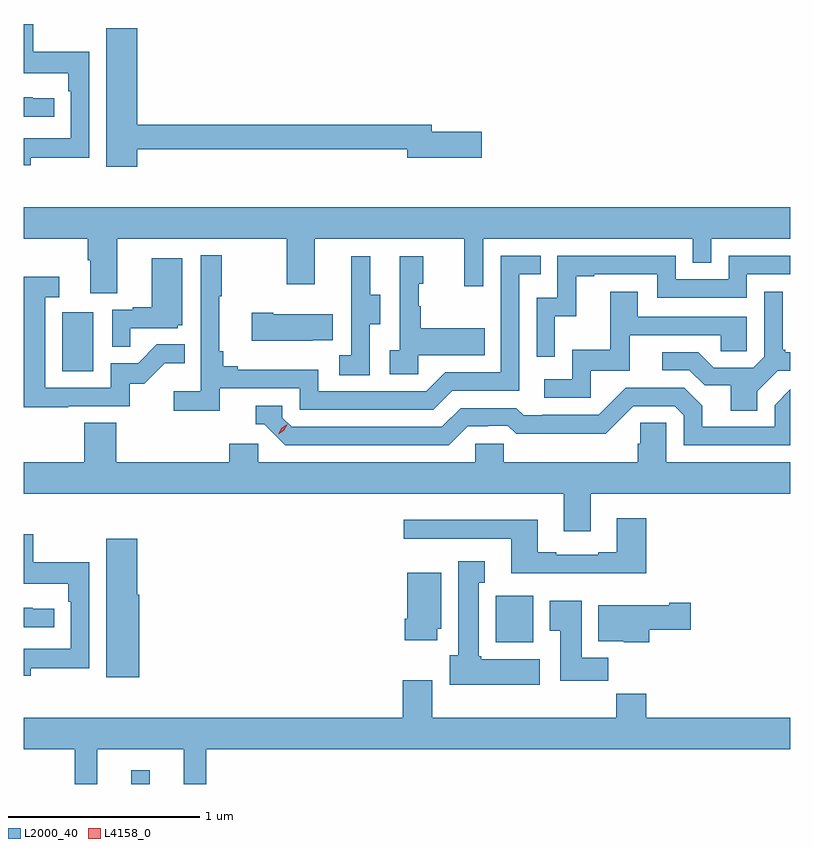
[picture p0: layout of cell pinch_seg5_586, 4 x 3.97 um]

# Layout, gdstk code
import gdstk
lib = gdstk.Library(unit=1e-6, precision=1e-09)
def R(c, l, rs):  # rectangles x0, y0, x1, y1
    for r in rs: c.add(gdstk.rectangle(r[:2], r[2:], *l))
def P(c, l, *ps):  # polygons
    for p in ps: c.add(gdstk.Polygon(p, *l))
L2000_40 = (2000, 40)
L4158_0 = (4158, 0)

pinch_seg5_586 = lib.new_cell('pinch_seg5_586')
R(pinch_seg5_586, L2000_40, [(1125.387,856.578,1125.484,856.651), (1127.288,857.318,1127.485,857.56), (1125.026,858.732,1125.19,859.039)])
P(pinch_seg5_586, L2000_40, [(1124.863,859.846),(1125.168,859.846),(1125.168,860.398),(1124.875,860.398),(1124.875,860.544),(1124.826,860.544),(1124.826,860.288),(1125.059,860.288),(1125.059,860.192),(1125.072,860.192),(1125.072,859.947),(1124.826,859.947),(1124.826,859.808),(1124.863,859.808)],
  [(1125.418,859.89),(1126.826,859.89),(1126.826,859.847),(1127.215,859.847),(1127.215,859.982),(1126.954,859.982),(1126.954,860.018),(1125.418,860.018),(1125.418,860.521),(1125.257,860.521),(1125.257,859.8),(1125.418,859.8)],
  [(1124.986,860.157),(1124.873,860.157),(1124.873,860.162),(1124.826,860.162),(1124.826,860.061),(1124.986,860.061)],
  [(1125.313,859.424),(1126.198,859.424),(1126.198,859.185),(1126.345,859.185),(1126.345,859.424),(1127.126,859.424),(1127.126,859.176),(1127.223,859.176),(1127.223,859.424),(1128.318,859.424),(1128.318,859.297),(1128.414,859.297),(1128.414,859.424),(1128.826,859.424),(1128.826,859.588),(1124.826,859.588),(1124.826,859.424),(1125.161,859.424),(1125.161,859.312),(1125.173,859.312),(1125.173,859.138),(1125.313,859.138)],
  [(1125.848,858.642),(1126.266,858.642),(1126.266,858.531),(1126.963,858.531),(1127.062,858.63),(1127.412,858.63),(1127.412,859.239),(1127.525,859.239),(1127.525,859.335),(1127.316,859.335),(1127.316,858.726),(1127.025,858.726),(1126.926,858.627),(1126.362,858.627),(1126.362,858.739),(1125.943,858.739),(1125.943,858.758),(1125.866,858.758),(1125.866,858.835),(1125.847,858.835),(1125.847,859.123),(1125.859,859.123),(1125.859,859.336),(1125.75,859.336),(1125.75,858.628),(1125.609,858.628),(1125.609,858.526),(1125.848,858.526)],
  [(1127.598,859.019),(1127.708,859.019),(1127.708,859.227),(1127.803,859.227),(1127.803,859.239),(1128.132,859.239),(1128.132,859.116),(1128.6,859.116),(1128.6,859.239),(1128.826,859.239),(1128.826,859.335),(1128.504,859.335),(1128.504,859.212),(1128.228,859.212),(1128.228,859.335),(1127.61,859.335),(1127.61,859.116),(1127.502,859.116),(1127.502,858.807),(1127.598,858.807)],
  [(1126.884,858.815),(1127.231,858.815),(1127.231,858.955),(1126.897,858.955),(1126.897,859.07),(1126.887,859.07),(1126.887,859.188),(1126.912,859.188),(1126.912,859.333),(1126.788,859.333),(1126.788,858.842),(1126.737,858.842),(1126.737,858.717),(1126.884,858.717)],
  [(1126.632,858.976),(1126.687,858.976),(1126.687,859.131),(1126.633,859.131),(1126.633,859.333),(1126.535,859.333),(1126.535,859.119),(1126.536,859.119),(1126.536,858.815),(1126.473,858.815),(1126.473,858.712),(1126.632,858.712)],
  [(1125.383,858.957),(1125.63,858.957),(1125.63,858.972),(1125.652,858.972),(1125.652,859.321),(1125.494,859.321),(1125.494,859.066),(1125.395,859.066),(1125.395,859.053),(1125.288,859.053),(1125.288,858.859),(1125.383,858.859)],
  [(1125.059,858.549),(1125.378,858.549),(1125.378,858.666),(1125.454,858.666),(1125.561,858.773),(1125.665,858.773),(1125.665,858.872),(1125.521,858.872),(1125.423,858.774),(1125.279,858.774),(1125.279,858.645),(1124.937,858.645),(1124.937,859.119),(1125.01,859.119),(1125.01,859.225),(1124.826,859.225),(1124.826,858.544),(1125.059,858.544)],
  [(1128.655,858.628),(1128.762,858.735),(1128.826,858.735),(1128.826,858.832),(1128.799,858.832),(1128.799,858.844),(1128.787,858.844),(1128.787,859.147),(1128.69,859.147),(1128.69,858.807),(1128.633,858.75),(1128.427,858.75),(1128.346,858.831),(1128.159,858.831),(1128.159,858.738),(1128.3,858.738),(1128.38,858.658),(1128.515,858.658),(1128.515,858.526),(1128.655,858.526)],
  [(1127.784,858.735),(1127.989,858.735),(1127.989,858.921),(1128.463,858.921),(1128.463,858.837),(1128.6,858.837),(1128.6,859.017),(1128.031,859.017),(1128.031,859.147),(1127.887,859.147),(1127.887,858.844),(1127.688,858.844),(1127.688,858.69),(1127.541,858.69),(1127.541,858.594),(1127.784,858.594)],
  [(1126.331,858.893),(1126.439,858.893),(1126.439,859.03),(1126.129,859.03),(1126.129,859.038),(1126.017,859.038),(1126.017,858.89),(1126.331,858.89)],
  [(1127.143,858.444),(1127.25,858.444),(1127.25,858.447),(1127.353,858.447),(1127.395,858.405),(1127.628,858.405),(1127.628,858.407),(1127.864,858.407),(1128.006,858.549),(1128.222,858.549),(1128.27,858.501),(1128.27,858.345),(1128.826,858.345),(1128.826,858.637),(1128.744,858.555),(1128.744,858.441),(1128.367,858.441),(1128.367,858.551),(1128.273,858.645),(1127.967,858.645),(1127.826,858.504),(1127.533,858.504),(1127.533,858.501),(1127.434,858.501),(1127.395,858.54),(1127.106,858.54),(1127.007,858.441),(1126.224,858.441),(1126.176,858.489),(1126.176,858.552),(1126.037,858.552),(1126.037,858.456),(1126.08,858.456),(1126.191,858.345),(1127.044,858.345)],
  [(1127.785,858.092),(1128.826,858.092),(1128.826,858.256),(1128.18,858.256),(1128.18,858.464),(1128.043,858.464),(1128.043,858.354),(1128.029,858.354),(1128.029,858.256),(1127.331,858.256),(1127.331,858.354),(1127.181,858.354),(1127.181,858.256),(1126.05,858.256),(1126.05,858.354),(1125.899,858.354),(1125.899,858.256),(1125.308,858.256),(1125.308,858.464),(1125.143,858.464),(1125.143,858.256),(1124.826,858.256),(1124.826,858.092),(1127.645,858.092),(1127.645,857.898),(1127.785,857.898)],
  [(1128.074,857.965),(1127.921,857.965),(1127.921,857.788),(1127.825,857.788),(1127.825,857.775),(1127.605,857.775),(1127.605,857.788),(1127.509,857.788),(1127.509,857.956),(1126.809,857.956),(1126.809,857.859),(1127.369,857.859),(1127.369,857.678),(1128.074,857.678)],
  [(1124.863,857.182),(1125.168,857.182),(1125.168,857.734),(1124.875,857.734),(1124.875,857.88),(1124.826,857.88),(1124.826,857.624),(1125.059,857.624),(1125.059,857.528),(1125.072,857.528),(1125.072,857.283),(1124.826,857.283),(1124.826,857.144),(1124.863,857.144)],
  [(1125.43,857.565),(1125.418,857.565),(1125.418,857.857),(1125.257,857.857),(1125.257,857.136),(1125.43,857.136)],
  [(1127.518,857.23),(1127.214,857.23),(1127.214,857.244),(1127.2,857.244),(1127.2,857.627),(1127.233,857.627),(1127.233,857.74),(1127.093,857.74),(1127.093,857.25),(1127.048,857.25),(1127.048,857.096),(1127.518,857.096)],
  [(1126.984,857.388),(1127.005,857.388),(1127.005,857.68),(1126.826,857.68),(1126.826,857.44),(1126.814,857.44),(1126.814,857.328),(1126.984,857.328)],
  [(1127.876,857.236),(1127.737,857.236),(1127.737,857.533),(1127.57,857.533),(1127.57,857.377),(1127.627,857.377),(1127.627,857.118),(1127.876,857.118)],
  [(1128.089,857.383),(1128.307,857.383),(1128.307,857.525),(1128.194,857.525),(1128.194,857.512),(1127.825,857.512),(1127.825,857.324),(1127.958,857.324),(1127.958,857.318),(1128.089,857.318)],
  [(1124.986,857.493),(1124.873,857.493),(1124.873,857.498),(1124.826,857.498),(1124.826,857.397),(1124.986,857.397)],
  [(1125.209,856.76),(1125.662,856.76),(1125.662,856.578),(1125.779,856.578),(1125.779,856.76),(1128.826,856.76),(1128.826,856.924),(1128.074,856.924),(1128.074,857.048),(1127.917,857.048),(1127.917,856.924),(1126.957,856.924),(1126.957,857.119),(1126.805,857.119),(1126.805,856.924),(1124.826,856.924),(1124.826,856.76),(1125.091,856.76),(1125.091,856.578),(1125.209,856.578)])
P(pinch_seg5_586, L4158_0, [(1126.153,858.402),(1126.153,858.403),(1126.169,858.435),(1126.2,858.455),(1126.2,858.455),(1126.2,858.454),(1126.184,858.422),(1126.154,858.402)])

lib.write_gds('pinch_seg5_586.gds')
